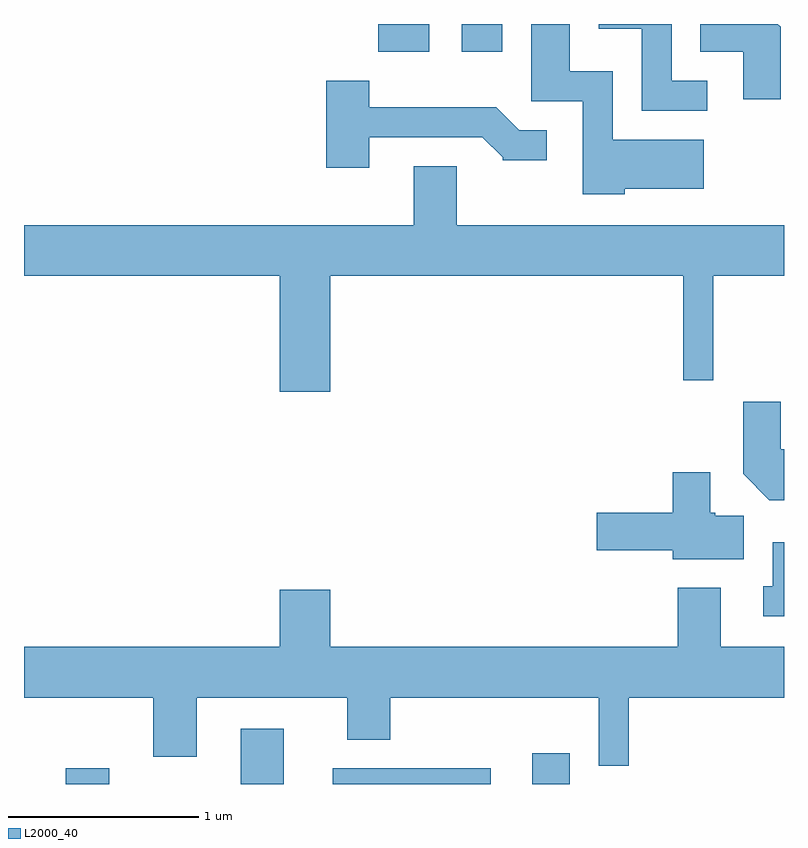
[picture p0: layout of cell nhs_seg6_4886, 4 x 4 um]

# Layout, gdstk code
import gdstk
lib = gdstk.Library(unit=1e-6, precision=1e-09)
def R(c, l, rs):  # rectangles x0, y0, x1, y1
    for r in rs: c.add(gdstk.rectangle(r[:2], r[2:], *l))
def P(c, l, *ps):  # polygons
    for p in ps: c.add(gdstk.Polygon(p, *l))
L2000_40 = (2000, 40)

nhs_seg6_4886 = lib.new_cell('nhs_seg6_4886')
R(nhs_seg6_4886, L2000_40, [(333.831,1636.162,334.059,1636.244), (334.751,1636.162,334.979,1636.454), (335.236,1636.162,336.068,1636.244), (336.286,1636.162,336.484,1636.324), (335.476,1640.016,335.744,1640.162), (335.916,1640.016,336.129,1640.162)])
P(nhs_seg6_4886, L2000_40, [(337.208,1639.864),(337.019,1639.864),(337.019,1640.162),(336.636,1640.162),(336.636,1640.136),(336.861,1640.136),(336.861,1639.706),(337.208,1639.706)],
  [(336.774,1639.296),(337.189,1639.296),(337.189,1639.554),(336.709,1639.554),(336.709,1639.914),(336.484,1639.914),(336.484,1640.162),(336.281,1640.162),(336.281,1639.756),(336.551,1639.756),(336.551,1639.266),(336.774,1639.266)],
  [(337.594,1640.147),(337.579,1640.162),(337.171,1640.162),(337.171,1640.016),(337.396,1640.016),(337.396,1639.766),(337.594,1639.766)],
  [(335.429,1639.566),(336.024,1639.566),(336.13,1639.46),(336.13,1639.446),(336.363,1639.446),(336.363,1639.604),(336.217,1639.604),(336.097,1639.724),(335.429,1639.724),(335.429,1639.864),(335.201,1639.864),(335.201,1639.406),(335.429,1639.406)],
  [(335.224,1638.836),(337.081,1638.836),(337.081,1638.288),(337.239,1638.288),(337.239,1638.836),(337.611,1638.836),(337.611,1639.104),(335.889,1639.104),(335.889,1639.414),(335.661,1639.414),(335.661,1639.104),(333.611,1639.104),(333.611,1638.836),(334.956,1638.836),(334.956,1638.226),(335.224,1638.226)],
  [(337.611,1637.924),(337.594,1637.924),(337.594,1638.174),(337.396,1638.174),(337.396,1637.794),(337.534,1637.656),(337.611,1637.656)],
  [(337.399,1637.574),(337.25,1637.574),(337.25,1637.589),(337.224,1637.589),(337.224,1637.804),(337.026,1637.804),(337.026,1637.589),(336.626,1637.589),(336.626,1637.391),(337.026,1637.391),(337.026,1637.346),(337.399,1637.346)],
  [(337.611,1637.434),(337.551,1637.434),(337.551,1637.204),(337.503,1637.204),(337.503,1637.046),(337.611,1637.046)],
  [(336.794,1636.616),(337.611,1636.616),(337.611,1636.884),(337.279,1636.884),(337.279,1637.194),(337.051,1637.194),(337.051,1636.884),(335.224,1636.884),(335.224,1637.184),(334.956,1637.184),(334.956,1636.884),(333.611,1636.884),(333.611,1636.616),(334.291,1636.616),(334.291,1636.306),(334.519,1636.306),(334.519,1636.616),(335.311,1636.616),(335.311,1636.396),(335.539,1636.396),(335.539,1636.616),(336.636,1636.616),(336.636,1636.258),(336.794,1636.258)])

lib.write_gds('nhs_seg6_4886.gds')
